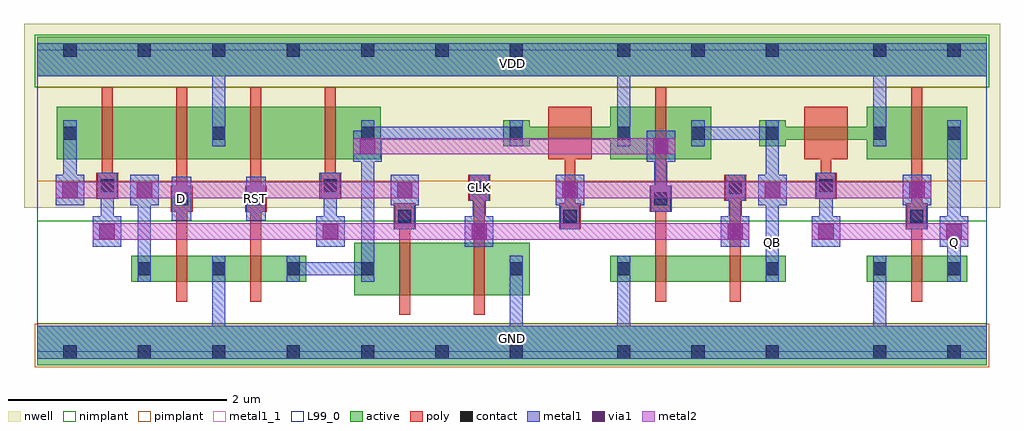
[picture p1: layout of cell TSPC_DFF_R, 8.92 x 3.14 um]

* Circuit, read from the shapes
.subckt TSPC_DFF_R CLK D GND Q QB RST VDD
M1 GND D n1 GND nfet w=0.24u l=0.1u
M2 n2 RST GND GND nfet w=0.24u l=0.1u
M3 n3 n1 n2 GND nfet w=0.48u l=0.1u
M4 GND CLK n3 GND nfet w=0.48u l=0.1u
M5 n4 n2 GND GND nfet w=0.24u l=0.1u
M6 QB CLK n4 GND nfet w=0.24u l=0.1u
M7 Q QB GND GND nfet w=0.24u l=0.1u
M8 n5 CLK n1 VDD pfet w=0.48u l=0.1u
M9 VDD D n5 VDD pfet w=0.48u l=0.1u
M10 n6 RST VDD VDD pfet w=0.48u l=0.1u
M11 n2 CLK n6 VDD pfet w=0.48u l=0.1u
M12 VDD QB n2 VDD pfet w=0.12u l=0.4u
M13 QB n2 VDD VDD pfet w=0.48u l=0.1u
M14 VDD Q QB VDD pfet w=0.12u l=0.4u
M15 Q QB VDD VDD pfet w=0.48u l=0.1u
.ends

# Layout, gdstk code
import gdstk
lib = gdstk.Library(unit=1e-6, precision=5e-10)
def R(c, l, rs):  # rectangles x0, y0, x1, y1
    for r in rs: c.add(gdstk.rectangle(r[:2], r[2:], *l))
def A(c, l, x, y, w, h, nx, ny, dx, dy):  # array of equal rectangles
    R(c, l, [(x+i*dx, y+j*dy, x+i*dx+w, y+j*dy+h) for i in range(nx) for j in range(ny)])
active = (1, 0)
nwell = (2, 0)
poly = (3, 0)
nimplant = (4, 0)
pimplant = (5, 0)
contact = (6, 0)
metal1 = (7, 0)
metal1_1 = (7, 1)
via1 = (8, 0)
metal2 = (9, 0)
L99_0 = (99, 0)

tspc_dff_r = lib.new_cell('TSPC_DFF_R')
A(tspc_dff_r, active, 2.9, 0.52, 0.24, 0.48, 3, 1, 0.68, 0)
A(tspc_dff_r, active, 0.86, 0.64, 0.24, 0.24, 3, 1, 0.68, 0)
A(tspc_dff_r, active, 5.24, 0.64, 0.24, 0.24, 3, 1, 0.68, 0)
A(tspc_dff_r, active, 0.18, 1.76, 0.24, 0.48, 5, 1, 0.68, 0)
A(tspc_dff_r, active, 0.42, 1.76, 0.44, 0.48, 4, 1, 0.68, 0)
R(tspc_dff_r, active, [(0,-0.12,8.68,0.24), (3.14,0.52,3.58,1), (3.82,0.52,4.26,1), (1.1,0.64,1.54,0.88), (1.78,0.64,2.22,0.88), (5.48,0.64,5.92,0.88), (6.16,0.64,6.6,0.88), (7.58,0.64,7.82,0.88), (7.82,0.64,8.26,0.88), (8.26,0.64,8.5,0.88), (5.24,1.76,5.48,2.24), (5.48,1.76,5.92,2.24), (5.92,1.76,6.16,2.24), (7.58,1.76,7.82,2.24), (7.82,1.76,8.26,2.24), (8.26,1.76,8.5,2.24), (4.26,1.88,4.5,2.12), (6.6,1.88,6.84,2.12), (4.5,1.94,5.24,2.06), (6.84,1.94,7.58,2.06), (0,2.52,8.68,2.88)])
R(tspc_dff_r, nwell, [(-0.12,1.32,8.8,3)])
R(tspc_dff_r, poly, [(3.31,0.34,3.41,1.36), (3.99,0.34,4.09,1.62), (1.27,0.46,1.37,2.42), (1.95,0.46,2.05,2.42), (5.65,0.46,5.75,2.42), (6.33,0.46,6.43,1.62), (7.99,0.46,8.09,2.42), (3.26,1.12,3.46,1.36), (4.77,1.12,4.97,1.36), (4.82,1.12,4.92,2.24), (7.94,1.12,8.14,1.36), (1.22,1.28,1.42,1.52), (1.9,1.28,2.1,1.52), (5.6,1.28,5.8,1.52), (3.94,1.38,4.14,1.62), (6.28,1.38,6.48,1.62), (0.54,1.4,0.74,1.64), (0.59,1.4,0.69,2.42), (2.58,1.4,2.78,1.64), (2.63,1.4,2.73,2.42), (7.11,1.4,7.31,1.64), (7.16,1.4,7.26,2.24), (4.67,1.76,5.07,2.24), (7.01,1.76,7.41,2.24)])
R(tspc_dff_r, nimplant, [(0,0.26,8.68,1.2), (-0.02,2.42,8.7,2.9)])
R(tspc_dff_r, pimplant, [(-0.02,-0.14,8.7,0.26), (0,1.56,8.68,2.42)])
A(tspc_dff_r, contact, 0.24, -0.06, 0.12, 0.12, 7, 2, 0.68, 2.76)
A(tspc_dff_r, contact, 5.3, -0.06, 0.12, 0.12, 3, 2, 0.68, 2)
A(tspc_dff_r, contact, 0.92, 0.7, 0.12, 0.12, 4, 1, 0.68, 0)
A(tspc_dff_r, contact, 0.24, 1.94, 0.12, 0.12, 4, 1, 1.36, 0)
A(tspc_dff_r, contact, 5.3, 2.7, 0.12, 0.12, 3, 1, 0.68, 0)
R(tspc_dff_r, contact, [(7.64,-0.06,7.76,0.06), (8.32,-0.06,8.44,0.06), (4.32,0.7,4.44,0.82), (5.3,0.7,5.42,0.82), (6.66,0.7,6.78,0.82), (7.64,0.7,7.76,0.82), (8.32,0.7,8.44,0.82), (3.3,1.18,3.42,1.3), (4.81,1.18,4.93,1.3), (7.98,1.18,8.1,1.3), (1.26,1.34,1.38,1.46), (1.94,1.34,2.06,1.46), (5.64,1.34,5.76,1.46), (3.98,1.44,4.1,1.56), (6.32,1.44,6.44,1.56), (0.58,1.46,0.7,1.58), (2.62,1.46,2.74,1.58), (7.15,1.46,7.27,1.58), (7.64,1.94,7.76,2.06), (8.32,1.94,8.44,2.06), (7.64,2.7,7.76,2.82), (8.32,2.7,8.44,2.82)])
A(tspc_dff_r, metal1, 0.92, 0.64, 0.12, 0.24, 4, 1, 0.68, 0)
A(tspc_dff_r, metal1, 0.24, 1.88, 0.12, 0.24, 4, 1, 1.36, 0)
A(tspc_dff_r, metal1, 5.3, 1.88, 0.12, 0.24, 3, 1, 0.68, 0)
R(tspc_dff_r, metal1, [(0,-0.06,8.68,0.24), (1.6,0.06,1.72,0.82), (4.32,0.06,4.44,0.82), (5.3,0.06,5.42,0.82), (7.64,0.06,7.76,0.82), (4.32,0.64,4.44,0.88), (5.3,0.64,5.42,0.88), (6.66,0.64,6.78,0.88), (7.64,0.64,7.76,0.88), (8.32,0.64,8.44,0.88), (0.92,0.7,1.04,1.54), (2.28,0.7,3.08,0.82), (2.96,0.7,3.08,2.06), (6.66,0.7,6.78,2.06), (8.32,0.7,8.44,2.06), (0.51,0.96,0.77,1.24), (2.55,0.96,2.81,1.24), (3.91,0.96,4.17,1.24), (6.25,0.96,6.51,1.24), (7.08,0.96,7.34,1.24), (8.25,0.96,8.51,1.24), (0.58,1.1,0.7,1.52), (2.62,1.1,2.74,1.52), (3.98,1.1,4.1,1.5), (6.32,1.1,6.44,1.5), (7.15,1.1,7.27,1.52), (3.27,1.12,3.45,1.36), (4.78,1.12,4.96,1.36), (7.95,1.12,8.13,1.36), (1.23,1.2,1.41,1.6), (1.91,1.2,2.09,1.6), (3.3,1.24,3.42,1.48), (4.81,1.24,4.93,1.48), (7.98,1.24,8.1,1.48), (1.23,1.28,1.41,1.52), (1.91,1.28,2.09,1.52), (5.61,1.28,5.79,1.52), (0.17,1.34,0.43,1.62), (0.85,1.34,1.11,1.62), (3.23,1.34,3.49,1.62), (4.74,1.34,5,1.62), (6.59,1.34,6.85,1.62), (7.91,1.34,8.17,1.62), (3.95,1.38,4.13,1.62), (6.29,1.38,6.47,1.62), (0.55,1.4,0.73,1.64), (2.59,1.4,2.77,1.64), (5.64,1.4,5.76,1.88), (7.12,1.4,7.3,1.64), (0.24,1.42,0.36,2.06), (2.89,1.74,3.15,2.02), (5.57,1.74,5.83,2.02), (7.64,1.88,7.76,2.12), (8.32,1.88,8.44,2.12), (1.6,1.94,1.72,2.7), (2.96,1.94,4.44,2.06), (5.3,1.94,5.42,2.7), (5.98,1.94,6.78,2.06), (7.64,1.94,7.76,2.7), (0,2.52,8.68,2.82)])
R(tspc_dff_r, metal1_1, [(0,0,8.68,0.24), (6.66,0.95,6.78,1.05), (8.32,0.95,8.44,1.05), (1.23,1.2,1.41,1.6), (1.91,1.2,2.09,1.6), (3.95,1.4,4.13,1.6), (0,2.52,8.68,2.76)])
R(tspc_dff_r, via1, [(0.57,1.03,0.71,1.17), (2.61,1.03,2.75,1.17), (3.97,1.03,4.11,1.17), (6.31,1.03,6.45,1.17), (7.14,1.03,7.28,1.17), (8.31,1.03,8.45,1.17), (0.23,1.41,0.37,1.55), (0.91,1.41,1.05,1.55), (3.29,1.41,3.43,1.55), (4.8,1.41,4.94,1.55), (6.65,1.41,6.79,1.55), (7.97,1.41,8.11,1.55), (2.95,1.81,3.09,1.95), (5.63,1.81,5.77,1.95)])
R(tspc_dff_r, metal2, [(0.51,1.025,6.51,1.175), (7.08,1.025,8.51,1.175), (0.17,1.405,3.49,1.555), (4.74,1.405,8.17,1.555), (2.89,1.805,5.83,1.955)])
R(tspc_dff_r, L99_0, [(0,0,8.68,2.76)])
tspc_dff_r.add(gdstk.Label('QB', (6.72,1), layer=7, texttype=3))
tspc_dff_r.add(gdstk.Label('Q', (8.38,1), layer=7, texttype=3))
tspc_dff_r.add(gdstk.Label('CLK', (4.04,1.5), layer=7, texttype=3))
tspc_dff_r.add(gdstk.Label('RST', (2,1.4), layer=7, texttype=3))
tspc_dff_r.add(gdstk.Label('D', (1.32,1.4), layer=7, texttype=3))
tspc_dff_r.add(gdstk.Label('VDD', (4.34,2.64), layer=7, texttype=3))
tspc_dff_r.add(gdstk.Label('GND', (4.34,0.12), layer=7, texttype=3))

lib.write_gds('TSPC_DFF_R.gds')
